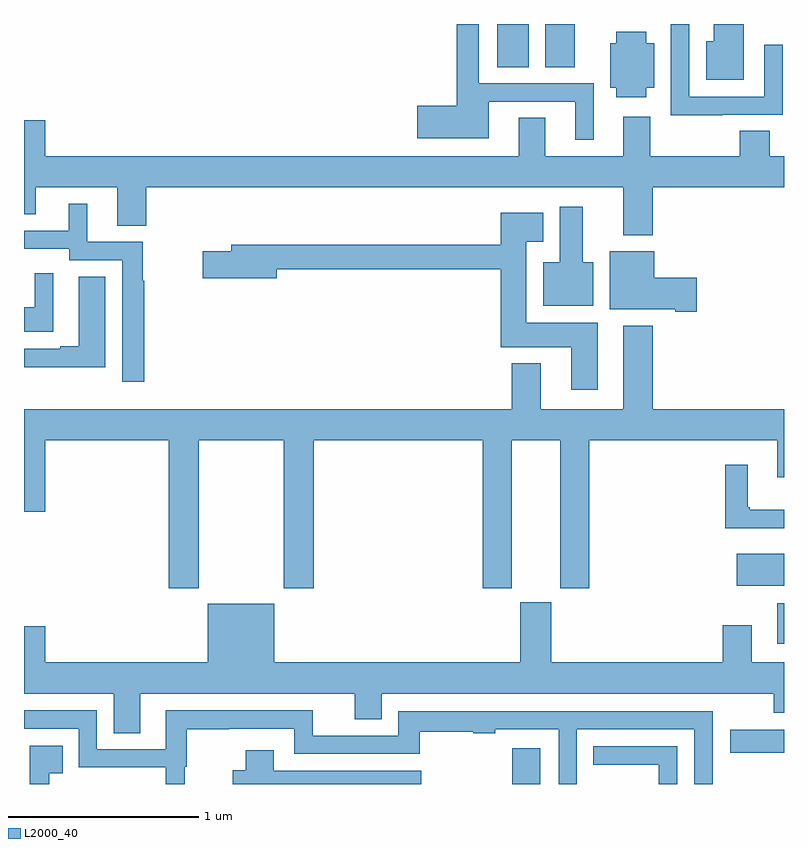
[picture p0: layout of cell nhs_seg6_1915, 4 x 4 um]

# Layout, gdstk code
import gdstk
lib = gdstk.Library(unit=1e-6, precision=1e-09)
def R(c, l, rs):  # rectangles x0, y0, x1, y1
    for r in rs: c.add(gdstk.rectangle(r[:2], r[2:], *l))
def P(c, l, *ps):  # polygons
    for p in ps: c.add(gdstk.Polygon(p, *l))
L2000_40 = (2000, 40)

nhs_seg6_1915 = lib.new_cell('nhs_seg6_1915')
R(nhs_seg6_1915, L2000_40, [(227.569,973.5,227.716,973.687), (228.717,973.664,229,973.786), (228.965,974.238,229,974.451), (228.752,974.543,229,974.713), (227.492,977.272,227.656,977.5), (227.744,977.272,227.899,977.5)])
P(nhs_seg6_1915, L2000_40, [(228.677,977.022),(228.993,977.022),(228.993,977.392),(228.897,977.392),(228.897,977.118),(228.501,977.118),(228.501,977.5),(228.404,977.5),(228.404,977.494),(228.405,977.494),(228.405,977.021),(228.677,977.021)],
  [(227.998,977.187),(227.394,977.187),(227.394,977.5),(227.278,977.5),(227.278,977.069),(227.07,977.069),(227.07,976.898),(227.446,976.898),(227.446,977.091),(227.9,977.091),(227.9,976.89),(227.998,976.89)],
  [(228.787,977.5),(228.629,977.5),(228.629,977.41),(228.59,977.41),(228.59,977.207),(228.787,977.207)],
  [(228.274,977.165),(228.316,977.165),(228.316,977.398),(228.274,977.398),(228.274,977.458),(228.116,977.458),(228.116,977.398),(228.086,977.398),(228.086,977.165),(228.116,977.165),(228.116,977.114),(228.274,977.114)],
  [(228.308,976.64),(229,976.64),(229,976.804),(228.926,976.804),(228.926,976.937),(228.766,976.937),(228.766,976.804),(228.295,976.804),(228.295,977.011),(228.155,977.011),(228.155,976.804),(227.743,976.804),(227.743,977.006),(227.603,977.006),(227.603,976.804),(225.112,976.804),(225.112,976.993),(225,976.993),(225,976.498),(225.061,976.498),(225.061,976.64),(225.491,976.64),(225.491,976.438),(225.644,976.438),(225.644,976.64),(228.155,976.64),(228.155,976.388),(228.308,976.388)],
  [(225.632,976.15),(225.625,976.15),(225.625,976.353),(225.334,976.353),(225.334,976.555),(225.236,976.555),(225.236,976.413),(225,976.413),(225,976.317),(225.237,976.317),(225.237,976.257),(225.516,976.257),(225.516,975.618),(225.632,975.618)],
  [(227.995,976.246),(227.941,976.246),(227.941,976.537),(227.819,976.537),(227.819,976.246),(227.732,976.246),(227.732,976.016),(227.995,976.016)],
  [(228.019,975.928),(227.644,975.928),(227.644,976.355),(227.734,976.355),(227.734,976.507),(227.51,976.507),(227.51,976.339),(226.091,976.339),(226.091,976.305),(225.942,976.305),(225.942,976.163),(226.33,976.163),(226.33,976.21),(227.51,976.21),(227.51,975.8),(227.879,975.8),(227.879,975.576),(228.019,975.576)],
  [(228.541,976.164),(228.316,976.164),(228.316,976.303),(228.083,976.303),(228.083,975.998),(228.428,975.998),(228.428,975.986),(228.541,975.986)],
  [(225.154,976.189),(225.056,976.189),(225.056,976.009),(225,976.009),(225,975.881),(225.154,975.881)],
  [(225.427,976.171),(225.287,976.171),(225.287,975.805),(225.191,975.805),(225.191,975.792),(225,975.792),(225,975.694),(225.427,975.694)],
  [(225.921,975.308),(226.366,975.308),(226.366,974.529),(226.526,974.529),(226.526,975.308),(227.414,975.308),(227.414,974.529),(227.566,974.529),(227.566,975.308),(227.822,975.308),(227.822,974.529),(227.975,974.529),(227.975,975.308),(228.965,975.308),(228.965,975.114),(229,975.114),(229,975.472),(228.308,975.472),(228.308,975.913),(228.155,975.913),(228.155,975.472),(227.719,975.472),(227.719,975.715),(227.567,975.715),(227.567,975.472),(225,975.472),(225,974.934),(225.112,974.934),(225.112,975.308),(225.761,975.308),(225.761,974.529),(225.921,974.529)],
  [(229,974.944),(228.82,974.944),(228.82,974.956),(228.808,974.956),(228.808,975.181),(228.691,975.181),(228.691,974.846),(229,974.846)],
  [(225.613,973.976),(226.742,973.976),(226.742,973.84),(226.882,973.84),(226.882,973.976),(228.946,973.976),(228.946,973.874),(229,973.874),(229,974.14),(228.829,974.14),(228.829,974.335),(228.677,974.335),(228.677,974.14),(227.776,974.14),(227.776,974.457),(227.612,974.457),(227.612,974.14),(226.318,974.14),(226.318,974.449),(225.968,974.449),(225.968,974.14),(225.112,974.14),(225.112,974.329),(225,974.329),(225,973.976),(225.473,973.976),(225.473,973.768),(225.613,973.768)],
  [(225.846,973.59),(225.856,973.59),(225.856,973.789),(226.079,973.789),(226.079,973.791),(226.422,973.791),(226.422,973.659),(227.083,973.659),(227.083,973.776),(227.364,973.776),(227.364,973.768),(227.48,973.768),(227.48,973.788),(227.814,973.788),(227.814,973.5),(227.91,973.5),(227.91,973.788),(228.528,973.788),(228.528,973.5),(228.624,973.5),(228.624,973.884),(226.971,973.884),(226.971,973.755),(226.521,973.755),(226.521,973.887),(225.746,973.887),(225.746,973.683),(225.384,973.683),(225.384,973.887),(225,973.887),(225,973.791),(225.288,973.791),(225.288,973.587),(225.747,973.587),(225.747,973.5),(225.846,973.5)],
  [(225.133,973.556),(225.203,973.556),(225.203,973.702),(225.029,973.702),(225.029,973.5),(225.133,973.5)],
  [(228.438,973.698),(227.995,973.698),(227.995,973.602),(228.342,973.602),(228.342,973.5),(228.438,973.5)],
  [(227.092,973.569),(226.315,973.569),(226.315,973.678),(226.168,973.678),(226.168,973.572),(226.098,973.572),(226.098,973.5),(227.092,973.5)])

lib.write_gds('nhs_seg6_1915.gds')
